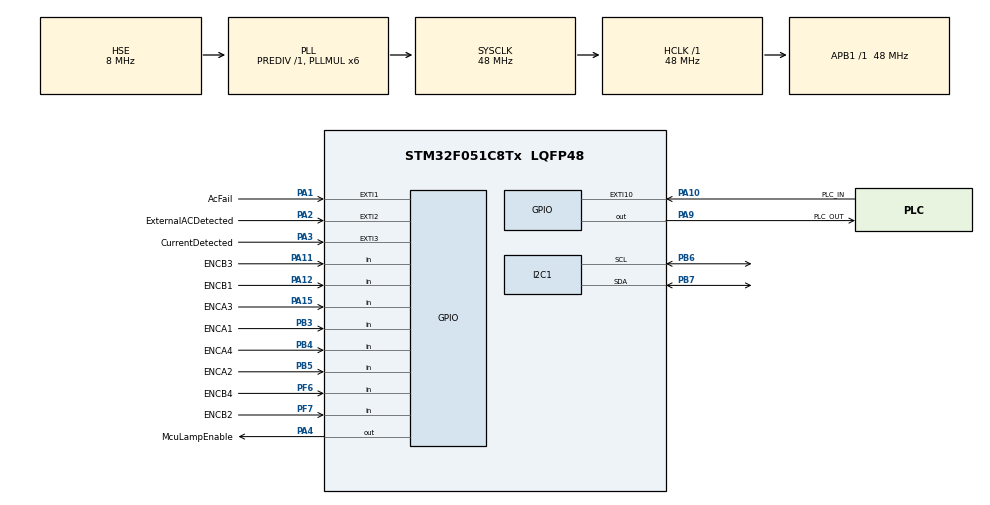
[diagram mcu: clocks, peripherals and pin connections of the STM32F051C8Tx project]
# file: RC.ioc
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FREERTOS.INCLUDE_vTaskDelayUntil=1
FREERTOS.Tasks01=defaultTask,0,128,StartDefaultTask,Default
FREERTOS.configTOTAL_HEAP_SIZE=3328
I2C1.Timing=0x20303E5D
Mcu.Family=STM32F0
Mcu.Name=STM32F051C8Tx
Mcu.Package=LQFP48
NVIC.EXTI0_1_IRQn=true\:3\:0\:false\:false\:true\:true
NVIC.EXTI2_3_IRQn=true\:3\:0\:false\:false\:true\:true
NVIC.EXTI4_15_IRQn=true\:3\:0\:false\:false\:true\:true
NVIC.I2C1_IRQn=true\:3\:0\:false\:false\:true\:true
NVIC.TIM16_IRQn=true\:3\:0\:false\:false\:true\:true
NVIC.TIM17_IRQn=true\:3\:0\:false\:false\:true\:true
NVIC.TIM6_DAC_IRQn=true\:3\:0\:false\:false\:true\:true
PA1.GPIO_Label=AcFail
PA1.GPIO_ModeDefaultEXTI=GPIO_MODE_IT_RISING_FALLING
PA1.GPIO_PuPd=GPIO_PULLUP
PA1.Signal=GPXTI1
PA10.GPIO_Label=PLC_IN
PA10.GPIO_ModeDefaultEXTI=GPIO_MODE_IT_FALLING
PA10.GPIO_PuPd=GPIO_PULLUP
PA10.Signal=GPXTI10
PA11.GPIO_Label=ENCB3
PA11.GPIO_Mode=GPIO_MODE_INPUT
PA11.GPIO_PuPd=GPIO_PULLUP
PA11.Signal=GPIO_Input
PA12.GPIO_Label=ENCB1
PA12.GPIO_Mode=GPIO_MODE_INPUT
PA12.GPIO_PuPd=GPIO_PULLUP
PA12.Signal=GPIO_Input
PA13.Mode=Serial_Wire
PA13.Signal=SYS_SWDIO
PA14.Mode=Serial_Wire
PA14.Signal=SYS_SWCLK
PA15.GPIO_Label=ENCA3
PA15.GPIO_Mode=GPIO_MODE_INPUT
PA15.GPIO_PuPd=GPIO_PULLUP
PA15.Signal=GPIO_Input
PA2.GPIO_Label=ExternalACDetected
PA2.GPIO_ModeDefaultEXTI=GPIO_MODE_IT_RISING_FALLING
PA2.GPIO_PuPd=GPIO_PULLUP
PA2.Signal=GPXTI2
PA3.GPIO_Label=CurrentDetected
PA3.GPIO_ModeDefaultEXTI=GPIO_MODE_IT_RISING_FALLING
PA3.GPIO_PuPd=GPIO_PULLDOWN
PA3.Signal=GPXTI3
PA4.GPIO_Label=McuLampEnable
PA4.GPIO_PuPd=GPIO_PULLDOWN
PA4.Signal=GPIO_Output
PA9.GPIO_Label=PLC_OUT
PA9.GPIO_PuPd=GPIO_PULLDOWN
PA9.Signal=GPIO_Output
PB3.GPIO_Label=ENCA1
PB3.GPIO_Mode=GPIO_MODE_INPUT
PB3.GPIO_PuPd=GPIO_PULLUP
PB3.Signal=GPIO_Input
PB4.GPIO_Label=ENCA4
PB4.GPIO_Mode=GPIO_MODE_INPUT
PB4.GPIO_PuPd=GPIO_PULLUP
PB4.Signal=GPIO_Input
PB5.GPIO_Label=ENCA2
PB5.GPIO_Mode=GPIO_MODE_INPUT
PB5.GPIO_PuPd=GPIO_PULLUP
PB5.Signal=GPIO_Input
PB6.Mode=I2C
PB6.Signal=I2C1_SCL
PB7.Mode=I2C
PB7.Signal=I2C1_SDA
PF0-OSC_IN.Mode=HSE-External-Oscillator
PF0-OSC_IN.Signal=RCC_OSC_IN
PF1-OSC_OUT.Mode=HSE-External-Oscillator
PF1-OSC_OUT.Signal=RCC_OSC_OUT
PF6.GPIO_Label=ENCB4
PF6.GPIO_Mode=GPIO_MODE_INPUT
PF6.GPIO_PuPd=GPIO_PULLUP
PF6.Signal=GPIO_Input
PF7.GPIO_Label=ENCB2
PF7.GPIO_Mode=GPIO_MODE_INPUT
PF7.GPIO_PuPd=GPIO_PULLUP
PF7.Signal=GPIO_Input
ProjectManager.HeapSize=0x200
ProjectManager.StackSize=0x400
ProjectManager.TargetToolchain=SW4STM32
RCC.AHBFreq_Value=48000000
RCC.APB1Freq_Value=48000000
RCC.APB1TimFreq_Value=48000000
RCC.HCLKFreq_Value=48000000
RCC.HSIState=RCC_HSI_ON
RCC.I2c1ClockSelection=RCC_I2C1CLKSOURCE_SYSCLK
RCC.PLLMUL=RCC_PLL_MUL6
RCC.PLLSourceVirtual=RCC_PLLSOURCE_HSE
RCC.SYSCLKFreq_VALUE=48000000
RCC.SYSCLKSource=RCC_SYSCLKSOURCE_PLLCLK
VP_FREERTOS_VS_ENABLE.Mode=Enabled
VP_TIM16_VS_ClockSourceINT.Mode=Enable_Timer
VP_TIM17_VS_ClockSourceINT.Mode=Enable_Timer
VP_TIM6_VS_ClockSourceINT.Mode=Enable_Timer
board=RC

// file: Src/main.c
/**
  ******************************************************************************
  * File Name          : main.c
  * Description        : Main program body
  ******************************************************************************
  *
  * Copyright (c) 2017 STMicroelectronics International N.V.
  * All rights reserved.
  *
  * Redistribution and use in source and binary forms, with or without
  * modification, are permitted, provided that the following conditions are met:
  *
  * 1. Redistribution of source code must retain the above copyright notice,
  *    this list of conditions and the following disclaimer.
  * 2. Redistributions in binary form must reproduce the above copyright notice,
  *    this list of conditions and the following disclaimer in the documentation
  *    and/or other materials provided with the distribution.
  * 3. Neither the name of STMicroelectronics nor the names of other
  *    contributors to this software may be used to endorse or promote products
  *    derived from this software without specific written permission.
  * 4. This software, including modifications and/or derivative works of this
  *    software, must execute solely and exclusively on microcontroller or
  *    microprocessor devices manufactured by or for STMicroelectronics.
  * 5. Redistribution and use of this software other than as permitted under
  *    this license is void and will automatically terminate your rights under
  *    this license.
  *
  * THIS SOFTWARE IS PROVIDED BY STMICROELECTRONICS AND CONTRIBUTORS "AS IS"
  * AND ANY EXPRESS, IMPLIED OR STATUTORY WARRANTIES, INCLUDING, BUT NOT
  * LIMITED TO, THE IMPLIED WARRANTIES OF MERCHANTABILITY, FITNESS FOR A
  * PARTICULAR PURPOSE AND NON-INFRINGEMENT OF THIRD PARTY INTELLECTUAL PROPERTY
  * RIGHTS ARE DISCLAIMED TO THE FULLEST EXTENT PERMITTED BY LAW. IN NO EVENT
  * SHALL STMICROELECTRONICS OR CONTRIBUTORS BE LIABLE FOR ANY DIRECT, INDIRECT,
  * INCIDENTAL, SPECIAL, EXEMPLARY, OR CONSEQUENTIAL DAMAGES (INCLUDING, BUT NOT
  * LIMITED TO, PROCUREMENT OF SUBSTITUTE GOODS OR SERVICES; LOSS OF USE, DATA,
  * OR PROFITS; OR BUSINESS INTERRUPTION) HOWEVER CAUSED AND ON ANY THEORY OF
  * LIABILITY, WHETHER IN CONTRACT, STRICT LIABILITY, OR TORT (INCLUDING
  * NEGLIGENCE OR OTHERWISE) ARISING IN ANY WAY OUT OF THE USE OF THIS SOFTWARE,
  * EVEN IF ADVISED OF THE POSSIBILITY OF SUCH DAMAGE.
  *
  ******************************************************************************
  */
#include "main.h"
#include "stm32f0xx_hal.h"
#include "cmsis_os.h"
#include "i2c.h"
#include "tim.h"
#include "gpio.h"

/* USER CODE BEGIN Includes */
#include "u_mbsHandler.h"
#include "u_address.h"

/* USER CODE END Includes */

/* USER CODE BEGIN PV */
/* Private variables ---------------------------------------------------------*/
mbsUart_t mbsu;

/* USER CODE END PV */

void SystemClock_Config(void);
void Error_Handler(void);
void MX_FREERTOS_Init(void);

/* USER CODE BEGIN PFP */
/* Private function prototypes -----------------------------------------------*/

/* USER CODE END PFP */

int main(void)
{

  /* MCU Configuration----------------------------------------------------------*/

  /* Reset of all peripherals, Initializes the Flash interface and the Systick. */
  HAL_Init();

  /* Configure the system clock */
  SystemClock_Config();

  /* Initialize all configured peripherals */
  MX_GPIO_Init();
  MX_I2C1_Init();
  MX_TIM6_Init();
  MX_TIM16_Init();
  MX_TIM17_Init();

  /* USER CODE BEGIN 2 */

	// create slave address (device specific)
	addr_t sa;

	// ENCA
	sa.enca[0].gpio = GPIOB;
	sa.enca[0].nr = GPIO_PIN_3;
	sa.enca[1].gpio = GPIOB;
	sa.enca[1].nr = GPIO_PIN_5;
	sa.enca[2].gpio = GPIOA;
	sa.enca[2].nr = GPIO_PIN_15;
	sa.enca[3].gpio = GPIOB;
	sa.enca[3].nr = GPIO_PIN_4;

	// ENCB
	sa.encb[0].gpio = GPIOA;
	sa.encb[0].nr = GPIO_PIN_12;
	sa.encb[1].gpio = GPIOF;
	sa.encb[1].nr = GPIO_PIN_7;
	sa.encb[2].gpio = GPIOA;
	sa.encb[2].nr = GPIO_PIN_11;
	sa.encb[3].gpio = GPIOF;
	sa.encb[3].nr = GPIO_PIN_6;

  // set slave address
	if (address_Init(&mbsu.slaveAddr, &sa, 10))
		while(1); // bad address

	// timeout
	mbsu.mbg.rxQ.toutTim = &htim6;
	mbsu.mbg.rxQ.T35 = 3.5f;

	mbsu.mbg.modType = e_mbgModuleType_Plc;
	mbsu.mbg.plcm.timHandleSync = &htim16;
	mbsu.mbg.plcm.timHandleBits = &htim17;

	mbsu.mbg.plcm.plcIngpio = PLC_IN_GPIO;
	mbsu.mbg.plcm.plcInpin = PLC_IN_PIN;

	mbsu.mbg.plcm.plcOutgpio = PLC_OUT_GPIO;
	mbsu.mbg.plcm.plcOutpin = PLC_OUT_PIN;

	mbsu.mbg.plcm.devType = e_plcDevType_Slave;

	mbs_Init(&mbsu, 1);
	mbsHandler_Init();

  /* USER CODE END 2 */

  /* Call init function for freertos objects (in freertos.c) */
  MX_FREERTOS_Init();

  /* Start scheduler */
  osKernelStart();

  /* We should never get here as control is now taken by the scheduler */

  /* Infinite loop */
  while (1)
  {

  }

}

/** System Clock Configuration
*/
void SystemClock_Config(void)
{

  RCC_OscInitTypeDef RCC_OscInitStruct;
  RCC_ClkInitTypeDef RCC_ClkInitStruct;
  RCC_PeriphCLKInitTypeDef PeriphClkInit;

    /**Initializes the CPU, AHB and APB busses clocks
    */
  RCC_OscInitStruct.OscillatorType = RCC_OSCILLATORTYPE_HSE;
  RCC_OscInitStruct.HSEState = RCC_HSE_ON;
  RCC_OscInitStruct.HSIState = RCC_HSI_ON;
  RCC_OscInitStruct.PLL.PLLState = RCC_PLL_ON;
  RCC_OscInitStruct.PLL.PLLSource = RCC_PLLSOURCE_HSE;
  RCC_OscInitStruct.PLL.PLLMUL = RCC_PLL_MUL6;
  RCC_OscInitStruct.PLL.PREDIV = RCC_PREDIV_DIV1;
  if (HAL_RCC_OscConfig(&RCC_OscInitStruct) != HAL_OK)
  {
    Error_Handler();
  }

    /**Initializes the CPU, AHB and APB busses clocks
    */
  RCC_ClkInitStruct.ClockType = RCC_CLOCKTYPE_HCLK|RCC_CLOCKTYPE_SYSCLK
                              |RCC_CLOCKTYPE_PCLK1;
  RCC_ClkInitStruct.SYSCLKSource = RCC_SYSCLKSOURCE_PLLCLK;
  RCC_ClkInitStruct.AHBCLKDivider = RCC_SYSCLK_DIV1;
  RCC_ClkInitStruct.APB1CLKDivider = RCC_HCLK_DIV1;

  if (HAL_RCC_ClockConfig(&RCC_ClkInitStruct, FLASH_LATENCY_1) != HAL_OK)
  {
    Error_Handler();
  }

  PeriphClkInit.PeriphClockSelection = RCC_PERIPHCLK_I2C1;
  PeriphClkInit.I2c1ClockSelection = RCC_I2C1CLKSOURCE_SYSCLK;
  if (HAL_RCCEx_PeriphCLKConfig(&PeriphClkInit) != HAL_OK)
  {
    Error_Handler();
  }

    /**Configure the Systick interrupt time
    */
  HAL_SYSTICK_Config(HAL_RCC_GetHCLKFreq()/1000);

    /**Configure the Systick
    */
  HAL_SYSTICK_CLKSourceConfig(SYSTICK_CLKSOURCE_HCLK);

  /* SysTick_IRQn interrupt configuration */
  HAL_NVIC_SetPriority(SysTick_IRQn, 3, 0);
}

void Error_Handler(void)
{
  while(1)
  {
  }
}

/************************ (C) COPYRIGHT STMicroelectronics *****END OF FILE****/

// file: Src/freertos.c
/**
  ******************************************************************************
  * File Name          : freertos.c
  * Description        : Code for freertos applications
  ******************************************************************************
  *
  * Copyright (c) 2017 STMicroelectronics International N.V.
  * All rights reserved.
  *
  * Redistribution and use in source and binary forms, with or without
  * modification, are permitted, provided that the following conditions are met:
  *
  * 1. Redistribution of source code must retain the above copyright notice,
  *    this list of conditions and the following disclaimer.
  * 2. Redistributions in binary form must reproduce the above copyright notice,
  *    this list of conditions and the following disclaimer in the documentation
  *    and/or other materials provided with the distribution.
  * 3. Neither the name of STMicroelectronics nor the names of other
  *    contributors to this software may be used to endorse or promote products
  *    derived from this software without specific written permission.
  * 4. This software, including modifications and/or derivative works of this
  *    software, must execute solely and exclusively on microcontroller or
  *    microprocessor devices manufactured by or for STMicroelectronics.
  * 5. Redistribution and use of this software other than as permitted under
  *    this license is void and will automatically terminate your rights under
  *    this license.
  *
  * THIS SOFTWARE IS PROVIDED BY STMICROELECTRONICS AND CONTRIBUTORS "AS IS"
  * AND ANY EXPRESS, IMPLIED OR STATUTORY WARRANTIES, INCLUDING, BUT NOT
  * LIMITED TO, THE IMPLIED WARRANTIES OF MERCHANTABILITY, FITNESS FOR A
  * PARTICULAR PURPOSE AND NON-INFRINGEMENT OF THIRD PARTY INTELLECTUAL PROPERTY
  * RIGHTS ARE DISCLAIMED TO THE FULLEST EXTENT PERMITTED BY LAW. IN NO EVENT
  * SHALL STMICROELECTRONICS OR CONTRIBUTORS BE LIABLE FOR ANY DIRECT, INDIRECT,
  * INCIDENTAL, SPECIAL, EXEMPLARY, OR CONSEQUENTIAL DAMAGES (INCLUDING, BUT NOT
  * LIMITED TO, PROCUREMENT OF SUBSTITUTE GOODS OR SERVICES; LOSS OF USE, DATA,
  * OR PROFITS; OR BUSINESS INTERRUPTION) HOWEVER CAUSED AND ON ANY THEORY OF
  * LIABILITY, WHETHER IN CONTRACT, STRICT LIABILITY, OR TORT (INCLUDING
  * NEGLIGENCE OR OTHERWISE) ARISING IN ANY WAY OUT OF THE USE OF THIS SOFTWARE,
  * EVEN IF ADVISED OF THE POSSIBILITY OF SUCH DAMAGE.
  *
  ******************************************************************************
  */

#include "FreeRTOS.h"
#include "task.h"
#include "cmsis_os.h"

osThreadId defaultTaskHandle;

void StartDefaultTask(void const * argument);

void MX_FREERTOS_Init(void); /* (MISRA C 2004 rule 8.1) */

/* Hook prototypes */

/* Init FreeRTOS */

void MX_FREERTOS_Init(void) {

  /* Create the thread(s) */
  /* definition and creation of defaultTask */
  osThreadDef(defaultTask, StartDefaultTask, osPriorityNormal, 0, 128);
  defaultTaskHandle = osThreadCreate(osThread(defaultTask), NULL);

}

/* StartDefaultTask function */
void StartDefaultTask(void const * argument)
{

  /* USER CODE BEGIN StartDefaultTask */
  /* Infinite loop */
  for(;;)
  {
	  osThreadTerminate(0);
    //osDelay(1);
  }
  /* USER CODE END StartDefaultTask */
}

/************************ (C) COPYRIGHT STMicroelectronics *****END OF FILE****/
